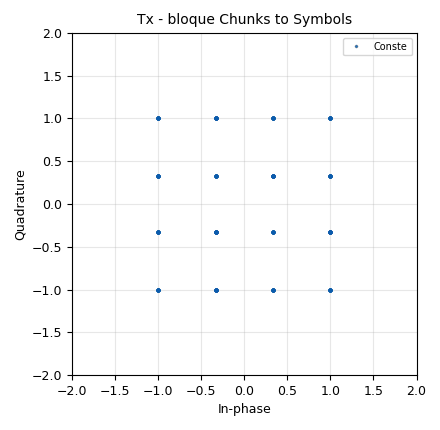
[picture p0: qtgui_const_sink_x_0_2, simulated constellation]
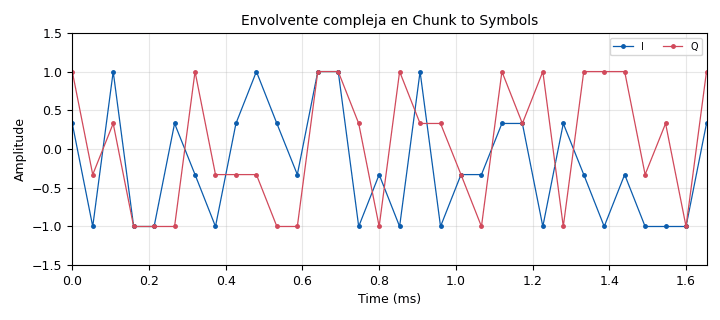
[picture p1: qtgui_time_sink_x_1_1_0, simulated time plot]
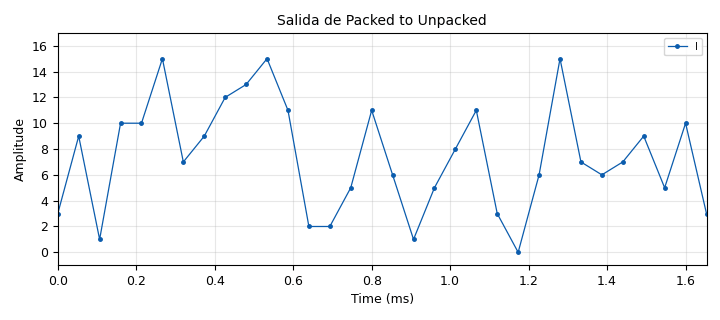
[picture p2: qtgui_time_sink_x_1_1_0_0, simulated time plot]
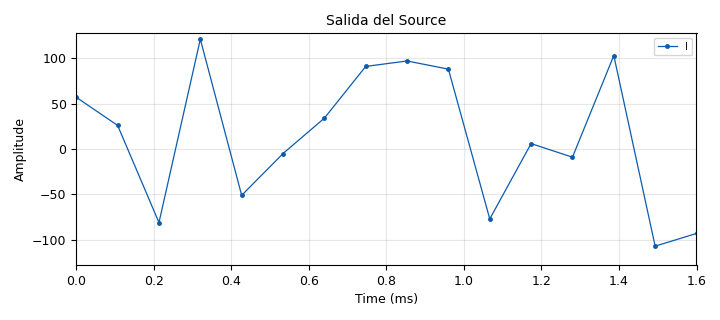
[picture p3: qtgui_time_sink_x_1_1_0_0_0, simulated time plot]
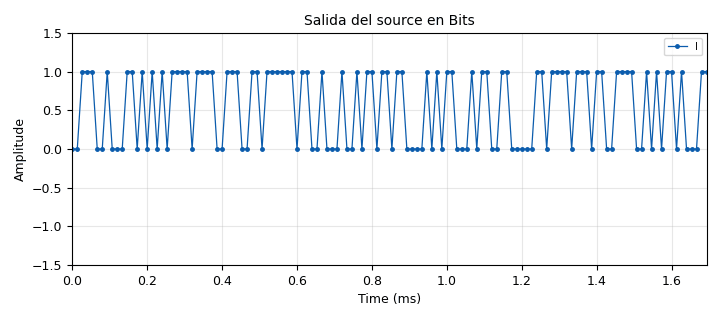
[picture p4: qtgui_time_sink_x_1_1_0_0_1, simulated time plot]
<?xml version='1.0' encoding='utf-8'?>
<?grc format='1' created='3.7.9'?>
<flow_graph>
<block>
<key>options</key>
<param><key>id</key><value>MPSK</value></param>
<param><key>category</key><value>Custom</value></param>
<param><key>generate_options</key><value>qt_gui</value></param>
<param><key>run</key><value>run_stop</value></param>
</block>
<block>
<key>variable_qtgui_range</key>
<param><key>id</key><value>AccumOffset</value></param>
<param><key>value</key><value>0</value></param>
<param><key>gui_hint</key><value>pestana1@0:0,3,1,1</value></param>
<param><key>label</key><value>Offset Accum.</value></param>
<param><key>orient</key><value>Qt.Horizontal</value></param>
<param><key>start</key><value>0</value></param>
<param><key>step</key><value>1</value></param>
<param><key>stop</key><value>Sps-1</value></param>
<param><key>rangeType</key><value>int</value></param>
</block>
<block>
<key>variable</key>
<param><key>id</key><value>B</value></param>
<param><key>value</key><value>300000</value></param>
</block>
<block>
<key>variable</key>
<param><key>id</key><value>Constelacion</value></param>
<param><key>_enabled</key><value>0</value></param>
<param><key>value</key><value>[1.+0.j,   0.707+ 0.707j,   0.+1.j,  -0.707+ 0.707j,  -1.+0.j,  -0.707- 0.707j,  0.-1.j,  0.707- 0.707j]</value></param>
</block>
<block>
<key>variable</key>
<param><key>id</key><value>Constelacion</value></param>
<param><key>_enabled</key><value>0</value></param>
<param><key>value</key><value>[1.+0.j,   0.+1.j,   -1.+0.j,  0.-1.j ]</value></param>
</block>
<block>
<key>variable</key>
<param><key>id</key><value>Constelacion</value></param>
<param><key>value</key><value>[.33+.33j, 1+.33j, 1+1.j, .33+1.j,     -.33+.33j, -1+.33j, -1+1.j, -.33+1.j,    -.33-.33j, -1-.33j, -1-1.j, -.33-1.j,     .33-.33j, 1-.33j, 1-1.j, .33-1.j ]</value></param>
</block>
<block>
<key>variable_qtgui_range</key>
<param><key>id</key><value>DelayDiez</value></param>
<param><key>value</key><value>int(Sps/2)</value></param>
<param><key>gui_hint</key><value>pestana1@0:0,2,1,1</value></param>
<param><key>label</key><value>Retrazo muestreador</value></param>
<param><key>orient</key><value>Qt.Horizontal</value></param>
<param><key>start</key><value>0</value></param>
<param><key>step</key><value>1</value></param>
<param><key>stop</key><value>Sps-1</value></param>
<param><key>rangeType</key><value>int</value></param>
</block>
<block>
<key>variable_qtgui_range</key>
<param><key>id</key><value>DelayOjo</value></param>
<param><key>value</key><value>0</value></param>
<param><key>gui_hint</key><value>pestana@6:1,0,1,1</value></param>
<param><key>label</key><value>varie aqui el retrazo de la senal para centrar el ojo</value></param>
<param><key>orient</key><value>Qt.Horizontal</value></param>
<param><key>start</key><value>0</value></param>
<param><key>step</key><value>1</value></param>
<param><key>stop</key><value>Sps</value></param>
<param><key>rangeType</key><value>int</value></param>
</block>
<block>
<key>variable</key>
<param><key>id</key><value>Fc</value></param>
<param><key>value</key><value>2000000</value></param>
</block>
<block>
<key>variable_qtgui_range</key>
<param><key>id</key><value>Foffset</value></param>
<param><key>value</key><value>0</value></param>
<param><key>gui_hint</key><value>pestana1@0:0,0,1,1</value></param>
<param><key>label</key><value>Offset de frec.</value></param>
<param><key>orient</key><value>Qt.Horizontal</value></param>
<param><key>start</key><value>0</value></param>
<param><key>step</key><value>0.01</value></param>
<param><key>stop</key><value>5</value></param>
</block>
<block>
<key>variable</key>
<param><key>id</key><value>Fs_cs</value></param>
<param><key>value</key><value>Rs</value></param>
</block>
<block>
<key>variable</key>
<param><key>id</key><value>Fs_pu</value></param>
<param><key>value</key><value>Rs</value></param>
</block>
<block>
<key>variable</key>
<param><key>id</key><value>Fs_rs</value></param>
<param><key>value</key><value>Rb/8</value></param>
</block>
<block>
<key>variable</key>
<param><key>id</key><value>Fs_uz</value></param>
<param><key>value</key><value>B</value></param>
</block>
<block>
<key>variable_qtgui_range</key>
<param><key>id</key><value>Kruido</value></param>
<param><key>value</key><value>0.002</value></param>
<param><key>gui_hint</key><value>1,3,1,1</value></param>
<param><key>label</key><value>Nivel del Ruido</value></param>
<param><key>orient</key><value>Qt.Horizontal</value></param>
<param><key>start</key><value>0</value></param>
<param><key>step</key><value>0.001</value></param>
<param><key>stop</key><value>1</value></param>
</block>
<block>
<key>variable</key>
<param><key>id</key><value>M</value></param>
<param><key>value</key><value>len(Constelacion)</value></param>
</block>
<block>
<key>variable</key>
<param><key>id</key><value>Nbsym</value></param>
<param><key>value</key><value>int(math.log(len(Constelacion),2))</value></param>
</block>
<block>
<key>variable</key>
<param><key>id</key><value>Np</value></param>
<param><key>value</key><value>8/Nbsym</value></param>
</block>
<block>
<key>variable_qtgui_range</key>
<param><key>id</key><value>Phioffset</value></param>
<param><key>value</key><value>0</value></param>
<param><key>gui_hint</key><value>pestana1@0:0,1,1,1</value></param>
<param><key>label</key><value>Offset de angulo</value></param>
<param><key>orient</key><value>Qt.Horizontal</value></param>
<param><key>start</key><value>-3.1415</value></param>
<param><key>step</key><value>0.1</value></param>
<param><key>stop</key><value>3.1415</value></param>
</block>
<block>
<key>variable</key>
<param><key>id</key><value>Rb</value></param>
<param><key>value</key><value>Rs*Nbsym</value></param>
</block>
<block>
<key>variable</key>
<param><key>id</key><value>Rs</value></param>
<param><key>value</key><value>Fs_uz/Sps</value></param>
</block>
<block>
<key>variable</key>
<param><key>id</key><value>Sps</value></param>
<param><key>value</key><value>16</value></param>
</block>
<block>
<key>variable</key>
<param><key>id</key><value>Tmax_scope</value></param>
<param><key>value</key><value>32./Rs</value></param>
</block>
<block>
<key>variable</key>
<param><key>id</key><value>ntaps</value></param>
<param><key>value</key><value>512</value></param>
</block>
<block>
<key>variable</key>
<param><key>id</key><value>rolloff</value></param>
<param><key>value</key><value>0.75</value></param>
</block>
<block>
<key>variable_qtgui_check_box</key>
<param><key>id</key><value>run_stop</value></param>
<param><key>value</key><value>True</value></param>
<param><key>false</key><value>False</value></param>
<param><key>gui_hint</key><value>1,0,1,1</value></param>
<param><key>label</key><value>Inicial/Parar</value></param>
<param><key>true</key><value>True</value></param>
<param><key>type</key><value>int</value></param>
</block>
<block>
<key>E3TRadio_usrp2usrp1_cc</key>
<param><key>id</key><value>E3TRadio_usrp2usrp1_cc_0</value></param>
<param><key>Am</key><value>0.8</value></param>
<param><key>BW</key><value>B/2.</value></param>
<param><key>Katt</key><value>10.</value></param>
<param><key>samp_rate</key><value>Fs_uz</value></param>
<param><key>Vruido</key><value>Kruido</value></param>
<param><key>Phoffset</key><value>numpy.pi/3.0</value></param>
<param><key>Foffset</key><value>0.01</value></param>
<param><key>Toffset</key><value>int(Sps*random.random())</value></param>
</block>
<block>
<key>E3TRadio_zero_order_hold2_cc</key>
<param><key>id</key><value>E3TRadio_zero_order_hold2_cc_0</value></param>
<param><key>k</key><value>Sps</value></param>
</block>
<block>
<key>analog_random_source_x</key>
<param><key>id</key><value>analog_random_source_x_0</value></param>
<param><key>max</key><value>256</value></param>
<param><key>min</key><value>0</value></param>
<param><key>num_samps</key><value>1000</value></param>
<param><key>type</key><value>byte</value></param>
<param><key>repeat</key><value>True</value></param>
</block>
<block>
<key>b_Eye_Diagram</key>
<param><key>id</key><value>b_Eye_Diagram_0</value></param>
<param><key>Delay</key><value>DelayOjo</value></param>
<param><key>gui_hint</key><value>pestana@6:0,0,1,1</value></param>
<param><key>N_eyes</key><value>2</value></param>
<param><key>Samprate</key><value>Fs_uz</value></param>
<param><key>Sps</key><value>Sps</value></param>
<param><key>Ymax</key><value>2</value></param>
<param><key>Ymin</key><value>-2</value></param>
</block>
<block>
<key>b_Raised_cosine</key>
<param><key>id</key><value>b_Raised_cosine_0</value></param>
<param><key>_enabled</key><value>0</value></param>
<param><key>ntaps</key><value>ntaps</value></param>
<param><key>rolloff</key><value>rolloff</value></param>
<param><key>samp_rate</key><value>Fs_uz</value></param>
<param><key>sps</key><value>Sps</value></param>
</block>
<block>
<key>b_accum_cc</key>
<param><key>id</key><value>b_accum_cc_0</value></param>
<param><key>M</key><value>AccumOffset</value></param>
<param><key>N</key><value>Sps</value></param>
</block>
<block>
<key>b_sampler_cc</key>
<param><key>id</key><value>b_sampler_cc_0</value></param>
<param><key>DelayDiez</key><value>DelayDiez</value></param>
<param><key>Sps</key><value>Sps</value></param>
</block>
<block>
<key>b_tunner</key>
<param><key>id</key><value>b_tunner_0</value></param>
<param><key>fdesv</key><value>-Foffset</value></param>
<param><key>phi</key><value>Phioffset</value></param>
<param><key>samp_rate</key><value>Fs_uz</value></param>
</block>
<block>
<key>blocks_char_to_float</key>
<param><key>id</key><value>blocks_char_to_float_0</value></param>
<param><key>scale</key><value>1</value></param>
</block>
<block>
<key>blocks_char_to_float</key>
<param><key>id</key><value>blocks_char_to_float_0_0</value></param>
<param><key>scale</key><value>1</value></param>
</block>
<block>
<key>blocks_char_to_float</key>
<param><key>id</key><value>blocks_char_to_float_0_0_0</value></param>
<param><key>scale</key><value>1</value></param>
</block>
<block>
<key>blocks_complex_to_real</key>
<param><key>id</key><value>blocks_complex_to_real_0</value></param>
</block>
<block>
<key>blocks_delay</key>
<param><key>id</key><value>blocks_delay_0</value></param>
<param><key>delay</key><value>DelayOjo</value></param>
<param><key>type</key><value>float</value></param>
</block>
<block>
<key>blocks_packed_to_unpacked_xx</key>
<param><key>id</key><value>blocks_packed_to_unpacked_xx_0</value></param>
<param><key>bits_per_chunk</key><value>Nbsym</value></param>
<param><key>endianness</key><value>gr.GR_MSB_FIRST</value></param>
<param><key>type</key><value>byte</value></param>
</block>
<block>
<key>blocks_packed_to_unpacked_xx</key>
<param><key>id</key><value>blocks_packed_to_unpacked_xx_0_0</value></param>
<param><key>bits_per_chunk</key><value>1</value></param>
<param><key>endianness</key><value>gr.GR_MSB_FIRST</value></param>
<param><key>type</key><value>byte</value></param>
</block>
<block>
<key>blocks_throttle</key>
<param><key>id</key><value>blocks_throttle_0</value></param>
<param><key>samples_per_second</key><value>Fs_uz</value></param>
<param><key>type</key><value>complex</value></param>
</block>
<block>
<key>blocks_vector_source_x</key>
<param><key>id</key><value>blocks_vector_source_x_0</value></param>
<param><key>_enabled</key><value>0</value></param>
<param><key>type</key><value>byte</value></param>
<param><key>repeat</key><value>True</value></param>
<param><key>vector</key><value>(162,244)</value></param>
</block>
<block>
<key>blocks_vector_source_x</key>
<param><key>id</key><value>blocks_vector_source_x_0_0</value></param>
<param><key>_enabled</key><value>0</value></param>
<param><key>type</key><value>byte</value></param>
<param><key>repeat</key><value>True</value></param>
<param><key>vector</key><value>(1,3,1,3)</value></param>
</block>
<block>
<key>blocks_vector_source_x</key>
<param><key>id</key><value>blocks_vector_source_x_0_1</value></param>
<param><key>_enabled</key><value>0</value></param>
<param><key>type</key><value>byte</value></param>
<param><key>repeat</key><value>True</value></param>
<param><key>vector</key><value>(2,2,0,2,3,3,1,0)</value></param>
</block>
<block>
<key>digital_chunks_to_symbols_xx</key>
<param><key>id</key><value>digital_chunks_to_symbols_xx_0</value></param>
<param><key>dimension</key><value>1</value></param>
<param><key>in_type</key><value>byte</value></param>
<param><key>out_type</key><value>complex</value></param>
<param><key>symbol_table</key><value>Constelacion</value></param>
</block>
<block>
<key>import</key>
<param><key>id</key><value>import_0</value></param>
<param><key>import</key><value>import math</value></param>
</block>
<block>
<key>import</key>
<param><key>id</key><value>import_0_0</value></param>
<param><key>import</key><value>import numpy</value></param>
</block>
<block>
<key>import</key>
<param><key>id</key><value>import_0_0_0</value></param>
<param><key>import</key><value>import random</value></param>
</block>
<block>
<key>qtgui_tab_widget</key>
<param><key>id</key><value>pestana</value></param>
<param><key>label0</key><value>Tx Rand Source</value></param>
<param><key>label1</key><value>Tx Packed to Unp</value></param>
<param><key>label10</key><value>RX PSD</value></param>
<param><key>label11</key><value>Tx Rand Source en Bits</value></param>
<param><key>label2</key><value>Tx EC en Chunk</value></param>
<param><key>label3</key><value>Tx EC en zeroh</value></param>
<param><key>label4</key><value>Tx Constel</value></param>
<param><key>label5</key><value>Rx Constel</value></param>
<param><key>label6</key><value>Diag. Ojo</value></param>
<param><key>label7</key><value>Rx F.Acopl.</value></param>
<param><key>label8</key><value>RX Env. Comp</value></param>
<param><key>label9</key><value>TX PSD</value></param>
<param><key>num_tabs</key><value>12</value></param>
</block>
<block>
<key>qtgui_tab_widget</key>
<param><key>id</key><value>pestana1</value></param>
<param><key>label0</key><value>Rx Sintonia</value></param>
<param><key>num_tabs</key><value>1</value></param>
</block>
<block>
<key>qtgui_const_sink_x</key>
<param><key>id</key><value>qtgui_const_sink_x_0</value></param>
<param><key>gui_hint</key><value>pestana@4:0,1,1,1</value></param>
<param><key>label1</key><value>Conste</value></param>
<param><key>style1</key><value>1</value></param>
<param><key>name</key><value>"Tx - Filtro RC o Zehoh"</value></param>
<param><key>size</key><value>1024</value></param>
<param><key>type</key><value>complex</value></param>
<param><key>xmax</key><value>1.5</value></param>
<param><key>xmin</key><value>-1.5</value></param>
<param><key>ymax</key><value>1.5</value></param>
<param><key>ymin</key><value>-1.5</value></param>
</block>
<block>
<key>qtgui_const_sink_x</key>
<param><key>id</key><value>qtgui_const_sink_x_0_1</value></param>
<param><key>gui_hint</key><value>pestana@5:0,0,1,1</value></param>
<param><key>label1</key><value>Rx Tunner</value></param>
<param><key>style1</key><value>1</value></param>
<param><key>label2</key><value>Rx Muestreador</value></param>
<param><key>name</key><value>"Rx - Tunner versus muestreador"</value></param>
<param><key>nconnections</key><value>2</value></param>
<param><key>size</key><value>1024</value></param>
<param><key>type</key><value>complex</value></param>
<param><key>xmax</key><value>.15</value></param>
<param><key>xmin</key><value>-.15</value></param>
<param><key>ymax</key><value>.15</value></param>
<param><key>ymin</key><value>-.15</value></param>
</block>
<block>
<key>qtgui_const_sink_x</key>
<param><key>id</key><value>qtgui_const_sink_x_0_1_0</value></param>
<param><key>gui_hint</key><value>pestana@5:0,1,1,1</value></param>
<param><key>color1</key><value>"red"</value></param>
<param><key>label1</key><value>Conste</value></param>
<param><key>name</key><value>"Rx - Muestreador"</value></param>
<param><key>size</key><value>1024</value></param>
<param><key>type</key><value>complex</value></param>
<param><key>xmax</key><value>.15</value></param>
<param><key>xmin</key><value>-.15</value></param>
<param><key>ymax</key><value>.15</value></param>
<param><key>ymin</key><value>-.15</value></param>
</block>
<block>
<key>qtgui_const_sink_x</key>
<param><key>id</key><value>qtgui_const_sink_x_0_2</value></param>
<param><key>gui_hint</key><value>pestana@4:0,0,1,1</value></param>
<param><key>label1</key><value>Conste</value></param>
<param><key>style1</key><value>1</value></param>
<param><key>name</key><value>"Tx - bloque Chunks to Symbols"</value></param>
<param><key>size</key><value>1024</value></param>
<param><key>type</key><value>complex</value></param>
</block>
<block>
<key>qtgui_freq_sink_x</key>
<param><key>id</key><value>qtgui_freq_sink_x_0</value></param>
<param><key>average</key><value>0.05</value></param>
<param><key>bw</key><value>Fs_uz</value></param>
<param><key>fc</key><value>Fc</value></param>
<param><key>ctrlpanel</key><value>True</value></param>
<param><key>fftsize</key><value>1024</value></param>
<param><key>gui_hint</key><value>pestana@9:0,0,1,2</value></param>
<param><key>showports</key><value>True</value></param>
<param><key>type</key><value>complex</value></param>
<param><key>wintype</key><value>firdes.WIN_BLACKMAN_hARRIS</value></param>
</block>
<block>
<key>qtgui_freq_sink_x</key>
<param><key>id</key><value>qtgui_freq_sink_x_0_0</value></param>
<param><key>average</key><value>0.05</value></param>
<param><key>bw</key><value>Fs_uz</value></param>
<param><key>fc</key><value>Fc</value></param>
<param><key>ctrlpanel</key><value>True</value></param>
<param><key>fftsize</key><value>1024</value></param>
<param><key>gui_hint</key><value>pestana@10:0,0,1,2</value></param>
<param><key>showports</key><value>True</value></param>
<param><key>type</key><value>complex</value></param>
<param><key>wintype</key><value>firdes.WIN_BLACKMAN_hARRIS</value></param>
</block>
<block>
<key>qtgui_time_sink_x</key>
<param><key>id</key><value>qtgui_time_sink_x_1_0</value></param>
<param><key>ctrlpanel</key><value>True</value></param>
<param><key>gui_hint</key><value>pestana@8:0,0,1,2</value></param>
<param><key>color1</key><value>"blue"</value></param>
<param><key>label1</key><value>I</value></param>
<param><key>color2</key><value>"red"</value></param>
<param><key>label2</key><value>Q</value></param>
<param><key>size</key><value>int(Tmax_scope*Fs_rs*Np*Sps)</value></param>
<param><key>srate</key><value>Fs_uz</value></param>
<param><key>type</key><value>complex</value></param>
</block>
<block>
<key>qtgui_time_sink_x</key>
<param><key>id</key><value>qtgui_time_sink_x_1_0_0</value></param>
<param><key>ctrlpanel</key><value>True</value></param>
<param><key>gui_hint</key><value>pestana@7:0,0,1,2</value></param>
<param><key>color1</key><value>"blue"</value></param>
<param><key>label1</key><value>I</value></param>
<param><key>color2</key><value>"red"</value></param>
<param><key>label2</key><value>Q</value></param>
<param><key>size</key><value>int(Tmax_scope*Fs_rs*Np*Sps)</value></param>
<param><key>srate</key><value>Fs_uz</value></param>
<param><key>type</key><value>complex</value></param>
<param><key>ymax</key><value>0.2</value></param>
<param><key>ymin</key><value>-0.2</value></param>
</block>
<block>
<key>qtgui_time_sink_x</key>
<param><key>id</key><value>qtgui_time_sink_x_1_1</value></param>
<param><key>ctrlpanel</key><value>True</value></param>
<param><key>gui_hint</key><value>pestana@3:1,0,1,2</value></param>
<param><key>color1</key><value>"blue"</value></param>
<param><key>label1</key><value>I</value></param>
<param><key>color2</key><value>"red"</value></param>
<param><key>label2</key><value>Q</value></param>
<param><key>name</key><value>"Senal Modulada"</value></param>
<param><key>size</key><value>int(Tmax_scope*Fs_rs*Np*Sps)</value></param>
<param><key>srate</key><value>Fs_uz</value></param>
<param><key>type</key><value>complex</value></param>
</block>
<block>
<key>qtgui_time_sink_x</key>
<param><key>id</key><value>qtgui_time_sink_x_1_1_0</value></param>
<param><key>ctrlpanel</key><value>True</value></param>
<param><key>gui_hint</key><value>pestana@2:1,0,1,1</value></param>
<param><key>color1</key><value>"blue"</value></param>
<param><key>label1</key><value>I</value></param>
<param><key>marker1</key><value>0</value></param>
<param><key>color2</key><value>"red"</value></param>
<param><key>label2</key><value>Q</value></param>
<param><key>marker2</key><value>0</value></param>
<param><key>name</key><value>"Envolvente compleja en Chunk to Symbols"</value></param>
<param><key>size</key><value>int(Tmax_scope*Fs_rs*Np)</value></param>
<param><key>srate</key><value>Fs_cs</value></param>
<param><key>type</key><value>complex</value></param>
<param><key>ymax</key><value>1.5</value></param>
<param><key>ymin</key><value>-1.5</value></param>
</block>
<block>
<key>qtgui_time_sink_x</key>
<param><key>id</key><value>qtgui_time_sink_x_1_1_0_0</value></param>
<param><key>ctrlpanel</key><value>True</value></param>
<param><key>gui_hint</key><value>pestana@1:0,0,1,1</value></param>
<param><key>color1</key><value>"blue"</value></param>
<param><key>label1</key><value>I</value></param>
<param><key>marker1</key><value>0</value></param>
<param><key>name</key><value>"Salida de Packed to Unpacked"</value></param>
<param><key>size</key><value>int(Tmax_scope*Fs_rs*Np)</value></param>
<param><key>srate</key><value>Fs_pu</value></param>
<param><key>type</key><value>float</value></param>
<param><key>ymax</key><value>M+1</value></param>
</block>
<block>
<key>qtgui_time_sink_x</key>
<param><key>id</key><value>qtgui_time_sink_x_1_1_0_0_0</value></param>
<param><key>ctrlpanel</key><value>True</value></param>
<param><key>gui_hint</key><value>pestana@0:1,0,1,1</value></param>
<param><key>color1</key><value>"blue"</value></param>
<param><key>label1</key><value>I</value></param>
<param><key>marker1</key><value>0</value></param>
<param><key>name</key><value>"Salida del Source"</value></param>
<param><key>size</key><value>int(Tmax_scope*Fs_rs)</value></param>
<param><key>srate</key><value>Fs_rs</value></param>
<param><key>type</key><value>float</value></param>
<param><key>ymax</key><value>128</value></param>
<param><key>ymin</key><value>-128</value></param>
</block>
<block>
<key>qtgui_time_sink_x</key>
<param><key>id</key><value>qtgui_time_sink_x_1_1_0_0_1</value></param>
<param><key>ctrlpanel</key><value>True</value></param>
<param><key>gui_hint</key><value>pestana@11:0,0,1,1</value></param>
<param><key>color1</key><value>"blue"</value></param>
<param><key>label1</key><value>I</value></param>
<param><key>marker1</key><value>0</value></param>
<param><key>name</key><value>"Salida del source en Bits"</value></param>
<param><key>size</key><value>int(Tmax_scope*Fs_rs*8)</value></param>
<param><key>srate</key><value>Rb</value></param>
<param><key>type</key><value>float</value></param>
<param><key>ymax</key><value>1.5</value></param>
<param><key>ymin</key><value>-1.5</value></param>
</block>
<connection><source_block_id>E3TRadio_usrp2usrp1_cc_0</source_block_id><sink_block_id>b_tunner_0</sink_block_id><source_key>0</source_key><sink_key>0</sink_key></connection>
<connection><source_block_id>E3TRadio_zero_order_hold2_cc_0</source_block_id><sink_block_id>blocks_throttle_0</sink_block_id><source_key>0</source_key><sink_key>0</sink_key></connection>
<connection><source_block_id>analog_random_source_x_0</source_block_id><sink_block_id>blocks_char_to_float_0_0</sink_block_id><source_key>0</source_key><sink_key>0</sink_key></connection>
<connection><source_block_id>analog_random_source_x_0</source_block_id><sink_block_id>blocks_packed_to_unpacked_xx_0</sink_block_id><source_key>0</source_key><sink_key>0</sink_key></connection>
<connection><source_block_id>analog_random_source_x_0</source_block_id><sink_block_id>blocks_packed_to_unpacked_xx_0_0</sink_block_id><source_key>0</source_key><sink_key>0</sink_key></connection>
<connection><source_block_id>b_Raised_cosine_0</source_block_id><sink_block_id>blocks_throttle_0</sink_block_id><source_key>0</source_key><sink_key>0</sink_key></connection>
<connection><source_block_id>b_accum_cc_0</source_block_id><sink_block_id>b_sampler_cc_0</sink_block_id><source_key>0</source_key><sink_key>0</sink_key></connection>
<connection><source_block_id>b_accum_cc_0</source_block_id><sink_block_id>qtgui_time_sink_x_1_0_0</sink_block_id><source_key>0</source_key><sink_key>0</sink_key></connection>
<connection><source_block_id>b_sampler_cc_0</source_block_id><sink_block_id>qtgui_const_sink_x_0_1</sink_block_id><source_key>0</source_key><sink_key>1</sink_key></connection>
<connection><source_block_id>b_sampler_cc_0</source_block_id><sink_block_id>qtgui_const_sink_x_0_1_0</sink_block_id><source_key>1</source_key><sink_key>0</sink_key></connection>
<connection><source_block_id>b_tunner_0</source_block_id><sink_block_id>b_accum_cc_0</sink_block_id><source_key>0</source_key><sink_key>0</sink_key></connection>
<connection><source_block_id>b_tunner_0</source_block_id><sink_block_id>blocks_complex_to_real_0</sink_block_id><source_key>0</source_key><sink_key>0</sink_key></connection>
<connection><source_block_id>b_tunner_0</source_block_id><sink_block_id>qtgui_const_sink_x_0_1</sink_block_id><source_key>0</source_key><sink_key>0</sink_key></connection>
<connection><source_block_id>b_tunner_0</source_block_id><sink_block_id>qtgui_freq_sink_x_0_0</sink_block_id><source_key>0</source_key><sink_key>0</sink_key></connection>
<connection><source_block_id>b_tunner_0</source_block_id><sink_block_id>qtgui_time_sink_x_1_0</sink_block_id><source_key>0</source_key><sink_key>0</sink_key></connection>
<connection><source_block_id>blocks_char_to_float_0</source_block_id><sink_block_id>qtgui_time_sink_x_1_1_0_0</sink_block_id><source_key>0</source_key><sink_key>0</sink_key></connection>
<connection><source_block_id>blocks_char_to_float_0_0</source_block_id><sink_block_id>qtgui_time_sink_x_1_1_0_0_0</sink_block_id><source_key>0</source_key><sink_key>0</sink_key></connection>
<connection><source_block_id>blocks_char_to_float_0_0_0</source_block_id><sink_block_id>qtgui_time_sink_x_1_1_0_0_1</sink_block_id><source_key>0</source_key><sink_key>0</sink_key></connection>
<connection><source_block_id>blocks_complex_to_real_0</source_block_id><sink_block_id>blocks_delay_0</sink_block_id><source_key>0</source_key><sink_key>0</sink_key></connection>
<connection><source_block_id>blocks_delay_0</source_block_id><sink_block_id>b_Eye_Diagram_0</sink_block_id><source_key>0</source_key><sink_key>0</sink_key></connection>
<connection><source_block_id>blocks_delay_0</source_block_id><sink_block_id>b_Eye_Diagram_0</sink_block_id><source_key>0</source_key><sink_key>1</sink_key></connection>
<connection><source_block_id>blocks_packed_to_unpacked_xx_0</source_block_id><sink_block_id>blocks_char_to_float_0</sink_block_id><source_key>0</source_key><sink_key>0</sink_key></connection>
<connection><source_block_id>blocks_packed_to_unpacked_xx_0</source_block_id><sink_block_id>digital_chunks_to_symbols_xx_0</sink_block_id><source_key>0</source_key><sink_key>0</sink_key></connection>
<connection><source_block_id>blocks_packed_to_unpacked_xx_0_0</source_block_id><sink_block_id>blocks_char_to_float_0_0_0</sink_block_id><source_key>0</source_key><sink_key>0</sink_key></connection>
<connection><source_block_id>blocks_throttle_0</source_block_id><sink_block_id>E3TRadio_usrp2usrp1_cc_0</sink_block_id><source_key>0</source_key><sink_key>0</sink_key></connection>
<connection><source_block_id>blocks_throttle_0</source_block_id><sink_block_id>qtgui_const_sink_x_0</sink_block_id><source_key>0</source_key><sink_key>0</sink_key></connection>
<connection><source_block_id>blocks_throttle_0</source_block_id><sink_block_id>qtgui_freq_sink_x_0</sink_block_id><source_key>0</source_key><sink_key>0</sink_key></connection>
<connection><source_block_id>blocks_throttle_0</source_block_id><sink_block_id>qtgui_time_sink_x_1_1</sink_block_id><source_key>0</source_key><sink_key>0</sink_key></connection>
<connection><source_block_id>blocks_vector_source_x_0</source_block_id><sink_block_id>blocks_packed_to_unpacked_xx_0</sink_block_id><source_key>0</source_key><sink_key>0</sink_key></connection>
<connection><source_block_id>blocks_vector_source_x_0_0</source_block_id><sink_block_id>digital_chunks_to_symbols_xx_0</sink_block_id><source_key>0</source_key><sink_key>0</sink_key></connection>
<connection><source_block_id>blocks_vector_source_x_0_1</source_block_id><sink_block_id>digital_chunks_to_symbols_xx_0</sink_block_id><source_key>0</source_key><sink_key>0</sink_key></connection>
<connection><source_block_id>digital_chunks_to_symbols_xx_0</source_block_id><sink_block_id>E3TRadio_zero_order_hold2_cc_0</sink_block_id><source_key>0</source_key><sink_key>0</sink_key></connection>
<connection><source_block_id>digital_chunks_to_symbols_xx_0</source_block_id><sink_block_id>b_Raised_cosine_0</sink_block_id><source_key>0</source_key><sink_key>0</sink_key></connection>
<connection><source_block_id>digital_chunks_to_symbols_xx_0</source_block_id><sink_block_id>qtgui_const_sink_x_0_2</sink_block_id><source_key>0</source_key><sink_key>0</sink_key></connection>
<connection><source_block_id>digital_chunks_to_symbols_xx_0</source_block_id><sink_block_id>qtgui_time_sink_x_1_1_0</sink_block_id><source_key>0</source_key><sink_key>0</sink_key></connection>
</flow_graph>
